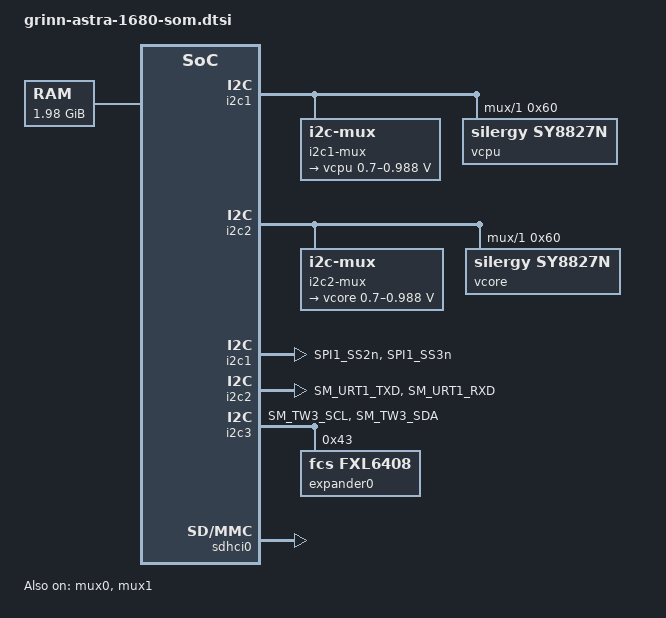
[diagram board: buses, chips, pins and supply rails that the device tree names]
/* SPDX-License-Identifier: GPL-2.0+ */
/*
* Copyright (C) 2016~2023 Synaptics Incorporated. All rights reserved.
*
* This program is free software; you can redistribute it and/or modify
* it under the terms of the GNU General Public License version 2 or
* later as published by the Free Software Foundation.
*
* INFORMATION CONTAINED IN THIS DOCUMENT IS PROVIDED "AS-IS," AND
* SYNAPTICS EXPRESSLY DISCLAIMS ALL EXPRESS AND IMPLIED WARRANTIES,
* INCLUDING ANY IMPLIED WARRANTIES OF MERCHANTABILITY AND FITNESS FOR
* A PARTICULAR PURPOSE, AND ANY WARRANTIES OF NON-INFRINGEMENT OF ANY
* INTELLECTUAL PROPERTY RIGHTS. IN NO EVENT SHALL SYNAPTICS BE LIABLE
* FOR ANY DIRECT, INDIRECT, INCIDENTAL, SPECIAL, PUNITIVE, OR
* CONSEQUENTIAL DAMAGES ARISING OUT OF OR IN CONNECTION WITH THE USE
* OF THE INFORMATION CONTAINED IN THIS DOCUMENT, HOWEVER CAUSED AND
* BASED ON ANY THEORY OF LIABILITY, WHETHER IN AN ACTION OF CONTRACT,
* NEGLIGENCE OR OTHER TORTIOUS ACTION, AND EVEN IF SYNAPTICS WAS
* ADVISED OF THE POSSIBILITY OF SUCH DAMAGE. IF A TRIBUNAL OF
* COMPETENT JURISDICTION DOES NOT PERMIT THE DISCLAIMER OF DIRECT
* DAMAGES OR ANY OTHER DAMAGES, SYNAPTICS' TOTAL CUMULATIVE LIABILITY
* TO ANY PARTY SHALL NOT EXCEED ONE HUNDRED U.S. DOLLARS.
*/

/dts-v1/;

/memreserve/ 0x7f000000 0x01000000;

#include "dolphin.dtsi"

/ {
	chosen {
		stdout-path = "serial0:115200n8";
	};

	cpus {
		cpu@0 {
			cpu0-supply = <&vcpu>;
		};
	};

	dmabuf_heap {
		compatible = "syna,berlin-heaps";
		pool-num = <2>;
		reg-names = "NonSecure", "Secure";
		reg = <0 0x7f000000 0 0x00800000>,
		      <0 0x7f800000 0 0x00800000>;
		attributes-num-per-pool = <2>;
		pool-attributes = <0x00000105 0x00000F3A 0x00000102 0x00000F3D>;
	};

	i2c1-mux {
		compatible = "i2c-mux";
		i2c-parent = <&i2c1>;
		mux-controls = <&mux0 0>;
		#address-cells = <1>;
		#size-cells = <0>;

		i2c@1 {
			reg = <1>;
			#address-cells = <1>;
			#size-cells = <0>;

			vcpu: regulator@60 {
				compatible = "silergy,sy8827n";
				reg = <0x60>;
				status = "okay";
				regulator-boot-on;
				regulator-always-on;
				regulator-active-discharge = <0>;
				regulator-name = "vcpu";
				regulator-min-microvolt = <700000>;
				regulator-max-microvolt = <987500>;
			};
		};
	};

	i2c2-mux {
		compatible = "i2c-mux";
		i2c-parent = <&i2c2>;
		mux-controls = <&mux1 0>;
		#address-cells = <1>;
		#size-cells = <0>;

		i2c@1 {
			reg = <1>;
			#address-cells = <1>;
			#size-cells = <0>;

			vcore: regulator@60 {
				compatible = "silergy,sy8827n";
				reg = <0x60>;
				status = "okay";
				regulator-boot-on;
				regulator-always-on;
				regulator-active-discharge = <0>;
				regulator-name = "vcore";
				regulator-min-microvolt = <700000>;
				regulator-max-microvolt = <987500>;
			};
		};
	};

	memory {
		device_type = "memory";
		reg = <0 0x01000000 0 0x7f000000>;
	};

	reserved-memory {
		#address-cells = <2>;
		#size-cells = <2>;
		ranges;

		ramoops@f901c000{
			compatible = "ramoops";
			reg = <0x0 0xf901c000 0x0 0x4000>;
			record-size = <0x4000>;
		};
	};
};

&cpu_opp_table {
	/delete-node/ opp@2100000000;

	opp@2100000000 {
		opp-hz = /bits/ 64 <2100000000>;
		opp-microvolt = <900000>;
		clock-latency-ns = <12600000>;
	};
};

&i2c1 {
	status = "okay";
	pinctrl-names = "default";
	pinctrl-0 = <&i2c1_pmux>;
};

&i2c2 {
	status = "okay";
	pinctrl-names = "default";
	pinctrl-0 = <&i2c2_pmux>;
};

&i2c3 {
	status = "okay";
	no-irq-suspend;
	pinctrl-names = "default";
	pinctrl-0 = <&i2c3_pmux>;

	expander0: gpio@43 {
		compatible = "fcs,fxl6408";
		reg = <0x43>;
		gpio-controller;
		#gpio-cells = <2>;
		gpio-line-names = "PWR_SOC_VCORE_EN", "", "VDDM_ON", "VDDM_LPQ_OFF",
				  "STAND_BY_EN", "", "", "";
	};
};

&mux0 {
	status = "okay";
};

&mux1 {
	status = "okay";
};

&pinctrl {
	i2c1_pmux: i2c1-pmux {
		groups = "SPI1_SS2n", "SPI1_SS3n";
		function = "tw1b";
		drive-strength = <3>;
	};
};

&sdhci0 {
	status = "okay";
	sdclkdl-dc = /bits/ 8 <26>;
	mmc-ddr-1_8v;
	mmc-hs200-1_8v;
	mmc-hs400-1_8v;
	dll-calibration;
	pad-sp = /bits/ 8 <14>;
	pad-sn = /bits/ 8 <14>;
};

&sm_pinctrl {
	i2c2_pmux: i2c2-pmux {
		groups = "SM_URT1_TXD", "SM_URT1_RXD";
		function = "tw2b";
		drive-strength = <7>;
	};

	i2c3_pmux: i2c3-pmux {
		groups = "SM_TW3_SCL", "SM_TW3_SDA";
		function = "tw3";
		drive-strength = <7>;
	};
};
